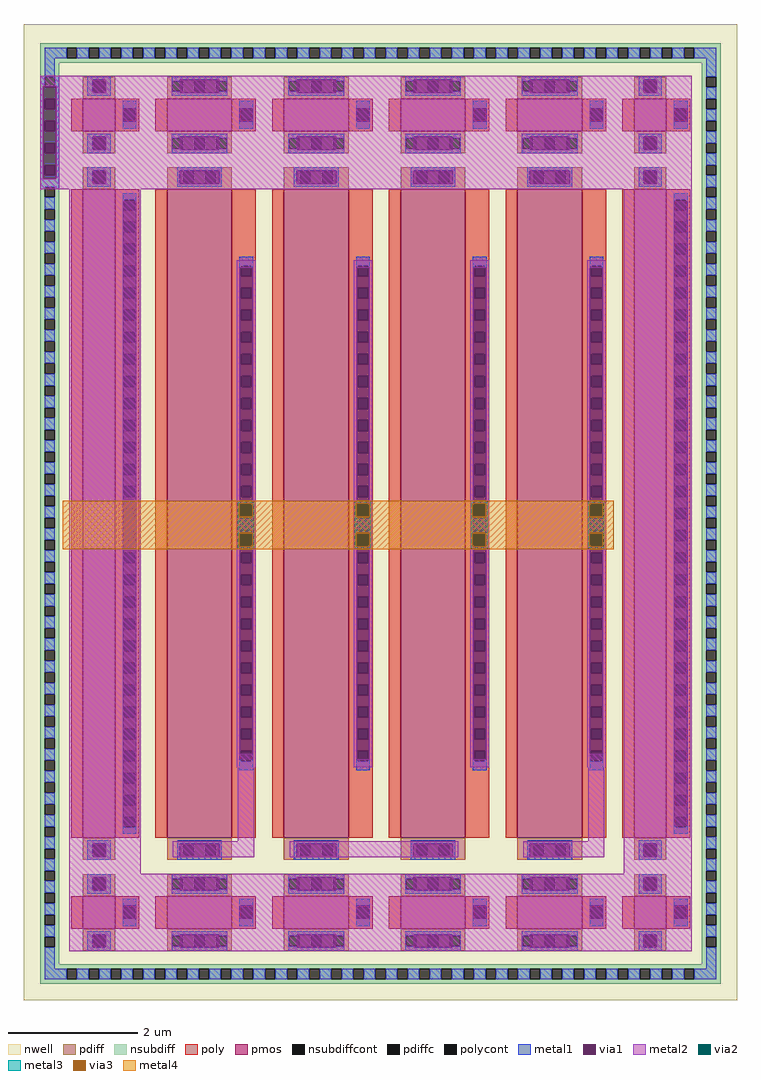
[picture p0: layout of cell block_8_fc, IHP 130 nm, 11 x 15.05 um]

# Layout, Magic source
magic
tech ihp-sg13g2
magscale 1 2
<< nwell >>
rect -380 -370 1820 2640
<< nsubdiff >>
rect -330 2566 1770 2580
rect -330 2534 -248 2566
rect -216 2534 -180 2566
rect -148 2534 -112 2566
rect -80 2534 -44 2566
rect -12 2534 24 2566
rect 56 2534 92 2566
rect 124 2534 160 2566
rect 192 2534 228 2566
rect 260 2534 296 2566
rect 328 2534 364 2566
rect 396 2534 432 2566
rect 464 2534 500 2566
rect 532 2534 568 2566
rect 600 2534 636 2566
rect 668 2534 704 2566
rect 736 2534 772 2566
rect 804 2534 840 2566
rect 872 2534 908 2566
rect 940 2534 976 2566
rect 1008 2534 1044 2566
rect 1076 2534 1112 2566
rect 1144 2534 1180 2566
rect 1212 2534 1248 2566
rect 1280 2534 1316 2566
rect 1348 2534 1384 2566
rect 1416 2534 1452 2566
rect 1484 2534 1520 2566
rect 1552 2534 1588 2566
rect 1620 2534 1656 2566
rect 1688 2534 1770 2566
rect -330 2520 1770 2534
rect -330 2477 -270 2520
rect -330 2445 -316 2477
rect -284 2445 -270 2477
rect -330 2409 -270 2445
rect -330 2377 -316 2409
rect -284 2377 -270 2409
rect -330 2341 -270 2377
rect -330 2309 -316 2341
rect -284 2309 -270 2341
rect -330 2273 -270 2309
rect -330 2241 -316 2273
rect -284 2241 -270 2273
rect -330 2205 -270 2241
rect -330 2173 -316 2205
rect -284 2173 -270 2205
rect -330 2137 -270 2173
rect -330 2105 -316 2137
rect -284 2105 -270 2137
rect -330 2069 -270 2105
rect -330 2037 -316 2069
rect -284 2037 -270 2069
rect -330 2001 -270 2037
rect -330 1969 -316 2001
rect -284 1969 -270 2001
rect -330 1933 -270 1969
rect -330 1901 -316 1933
rect -284 1901 -270 1933
rect -330 1865 -270 1901
rect -330 1833 -316 1865
rect -284 1833 -270 1865
rect -330 1797 -270 1833
rect -330 1765 -316 1797
rect -284 1765 -270 1797
rect -330 1729 -270 1765
rect -330 1697 -316 1729
rect -284 1697 -270 1729
rect -330 1661 -270 1697
rect -330 1629 -316 1661
rect -284 1629 -270 1661
rect -330 1593 -270 1629
rect -330 1561 -316 1593
rect -284 1561 -270 1593
rect -330 1525 -270 1561
rect -330 1493 -316 1525
rect -284 1493 -270 1525
rect -330 1457 -270 1493
rect -330 1425 -316 1457
rect -284 1425 -270 1457
rect -330 1389 -270 1425
rect -330 1357 -316 1389
rect -284 1357 -270 1389
rect -330 1321 -270 1357
rect -330 1289 -316 1321
rect -284 1289 -270 1321
rect -330 1253 -270 1289
rect -330 1221 -316 1253
rect -284 1221 -270 1253
rect -330 1185 -270 1221
rect -330 1153 -316 1185
rect -284 1153 -270 1185
rect 1710 2477 1770 2520
rect 1710 2445 1724 2477
rect 1756 2445 1770 2477
rect 1710 2409 1770 2445
rect 1710 2377 1724 2409
rect 1756 2377 1770 2409
rect 1710 2341 1770 2377
rect 1710 2309 1724 2341
rect 1756 2309 1770 2341
rect 1710 2273 1770 2309
rect 1710 2241 1724 2273
rect 1756 2241 1770 2273
rect 1710 2205 1770 2241
rect 1710 2173 1724 2205
rect 1756 2173 1770 2205
rect 1710 2137 1770 2173
rect 1710 2105 1724 2137
rect 1756 2105 1770 2137
rect 1710 2069 1770 2105
rect 1710 2037 1724 2069
rect 1756 2037 1770 2069
rect 1710 2001 1770 2037
rect 1710 1969 1724 2001
rect 1756 1969 1770 2001
rect 1710 1933 1770 1969
rect 1710 1901 1724 1933
rect 1756 1901 1770 1933
rect 1710 1865 1770 1901
rect 1710 1833 1724 1865
rect 1756 1833 1770 1865
rect 1710 1797 1770 1833
rect 1710 1765 1724 1797
rect 1756 1765 1770 1797
rect 1710 1729 1770 1765
rect 1710 1697 1724 1729
rect 1756 1697 1770 1729
rect 1710 1661 1770 1697
rect 1710 1629 1724 1661
rect 1756 1629 1770 1661
rect 1710 1593 1770 1629
rect 1710 1561 1724 1593
rect 1756 1561 1770 1593
rect 1710 1525 1770 1561
rect 1710 1493 1724 1525
rect 1756 1493 1770 1525
rect 1710 1457 1770 1493
rect 1710 1425 1724 1457
rect 1756 1425 1770 1457
rect 1710 1389 1770 1425
rect 1710 1357 1724 1389
rect 1756 1357 1770 1389
rect 1710 1321 1770 1357
rect 1710 1289 1724 1321
rect 1756 1289 1770 1321
rect 1710 1253 1770 1289
rect 1710 1221 1724 1253
rect 1756 1221 1770 1253
rect 1710 1185 1770 1221
rect -330 1117 -270 1153
rect 1710 1153 1724 1185
rect 1756 1153 1770 1185
rect -330 1085 -316 1117
rect -284 1085 -270 1117
rect -330 1049 -270 1085
rect -330 1017 -316 1049
rect -284 1017 -270 1049
rect -330 981 -270 1017
rect -330 949 -316 981
rect -284 949 -270 981
rect -330 913 -270 949
rect -330 881 -316 913
rect -284 881 -270 913
rect -330 845 -270 881
rect -330 813 -316 845
rect -284 813 -270 845
rect -330 777 -270 813
rect -330 745 -316 777
rect -284 745 -270 777
rect -330 709 -270 745
rect -330 677 -316 709
rect -284 677 -270 709
rect -330 641 -270 677
rect -330 609 -316 641
rect -284 609 -270 641
rect -330 573 -270 609
rect -330 541 -316 573
rect -284 541 -270 573
rect -330 505 -270 541
rect -330 473 -316 505
rect -284 473 -270 505
rect -330 437 -270 473
rect -330 405 -316 437
rect -284 405 -270 437
rect -330 369 -270 405
rect -330 337 -316 369
rect -284 337 -270 369
rect -330 301 -270 337
rect -330 269 -316 301
rect -284 269 -270 301
rect -330 233 -270 269
rect -330 201 -316 233
rect -284 201 -270 233
rect -330 165 -270 201
rect -330 133 -316 165
rect -284 133 -270 165
rect -330 97 -270 133
rect -330 65 -316 97
rect -284 65 -270 97
rect -330 29 -270 65
rect -330 -3 -316 29
rect -284 -3 -270 29
rect -330 -39 -270 -3
rect -330 -71 -316 -39
rect -284 -71 -270 -39
rect -330 -107 -270 -71
rect -330 -139 -316 -107
rect -284 -139 -270 -107
rect -330 -175 -270 -139
rect -330 -207 -316 -175
rect -284 -207 -270 -175
rect -330 -260 -270 -207
rect 1710 1117 1770 1153
rect 1710 1085 1724 1117
rect 1756 1085 1770 1117
rect 1710 1049 1770 1085
rect 1710 1017 1724 1049
rect 1756 1017 1770 1049
rect 1710 981 1770 1017
rect 1710 949 1724 981
rect 1756 949 1770 981
rect 1710 913 1770 949
rect 1710 881 1724 913
rect 1756 881 1770 913
rect 1710 845 1770 881
rect 1710 813 1724 845
rect 1756 813 1770 845
rect 1710 777 1770 813
rect 1710 745 1724 777
rect 1756 745 1770 777
rect 1710 709 1770 745
rect 1710 677 1724 709
rect 1756 677 1770 709
rect 1710 641 1770 677
rect 1710 609 1724 641
rect 1756 609 1770 641
rect 1710 573 1770 609
rect 1710 541 1724 573
rect 1756 541 1770 573
rect 1710 505 1770 541
rect 1710 473 1724 505
rect 1756 473 1770 505
rect 1710 437 1770 473
rect 1710 405 1724 437
rect 1756 405 1770 437
rect 1710 369 1770 405
rect 1710 337 1724 369
rect 1756 337 1770 369
rect 1710 301 1770 337
rect 1710 269 1724 301
rect 1756 269 1770 301
rect 1710 233 1770 269
rect 1710 201 1724 233
rect 1756 201 1770 233
rect 1710 165 1770 201
rect 1710 133 1724 165
rect 1756 133 1770 165
rect 1710 97 1770 133
rect 1710 65 1724 97
rect 1756 65 1770 97
rect 1710 29 1770 65
rect 1710 -3 1724 29
rect 1756 -3 1770 29
rect 1710 -39 1770 -3
rect 1710 -71 1724 -39
rect 1756 -71 1770 -39
rect 1710 -107 1770 -71
rect 1710 -139 1724 -107
rect 1756 -139 1770 -107
rect 1710 -175 1770 -139
rect 1710 -207 1724 -175
rect 1756 -207 1770 -175
rect 1710 -260 1770 -207
rect -330 -274 1770 -260
rect -330 -306 -248 -274
rect -216 -306 -180 -274
rect -148 -306 -112 -274
rect -80 -306 -44 -274
rect -12 -306 24 -274
rect 56 -306 92 -274
rect 124 -306 160 -274
rect 192 -306 228 -274
rect 260 -306 296 -274
rect 328 -306 364 -274
rect 396 -306 432 -274
rect 464 -306 500 -274
rect 532 -306 568 -274
rect 600 -306 636 -274
rect 668 -306 704 -274
rect 736 -306 772 -274
rect 804 -306 840 -274
rect 872 -306 908 -274
rect 940 -306 976 -274
rect 1008 -306 1044 -274
rect 1076 -306 1112 -274
rect 1144 -306 1180 -274
rect 1212 -306 1248 -274
rect 1280 -306 1316 -274
rect 1348 -306 1384 -274
rect 1416 -306 1452 -274
rect 1484 -306 1520 -274
rect 1552 -306 1588 -274
rect 1620 -306 1656 -274
rect 1688 -306 1770 -274
rect -330 -320 1770 -306
<< nsubdiffcont >>
rect -248 2534 -216 2566
rect -180 2534 -148 2566
rect -112 2534 -80 2566
rect -44 2534 -12 2566
rect 24 2534 56 2566
rect 92 2534 124 2566
rect 160 2534 192 2566
rect 228 2534 260 2566
rect 296 2534 328 2566
rect 364 2534 396 2566
rect 432 2534 464 2566
rect 500 2534 532 2566
rect 568 2534 600 2566
rect 636 2534 668 2566
rect 704 2534 736 2566
rect 772 2534 804 2566
rect 840 2534 872 2566
rect 908 2534 940 2566
rect 976 2534 1008 2566
rect 1044 2534 1076 2566
rect 1112 2534 1144 2566
rect 1180 2534 1212 2566
rect 1248 2534 1280 2566
rect 1316 2534 1348 2566
rect 1384 2534 1416 2566
rect 1452 2534 1484 2566
rect 1520 2534 1552 2566
rect 1588 2534 1620 2566
rect 1656 2534 1688 2566
rect -316 2445 -284 2477
rect -316 2377 -284 2409
rect -316 2309 -284 2341
rect -316 2241 -284 2273
rect -316 2173 -284 2205
rect -316 2105 -284 2137
rect -316 2037 -284 2069
rect -316 1969 -284 2001
rect -316 1901 -284 1933
rect -316 1833 -284 1865
rect -316 1765 -284 1797
rect -316 1697 -284 1729
rect -316 1629 -284 1661
rect -316 1561 -284 1593
rect -316 1493 -284 1525
rect -316 1425 -284 1457
rect -316 1357 -284 1389
rect -316 1289 -284 1321
rect -316 1221 -284 1253
rect -316 1153 -284 1185
rect 1724 2445 1756 2477
rect 1724 2377 1756 2409
rect 1724 2309 1756 2341
rect 1724 2241 1756 2273
rect 1724 2173 1756 2205
rect 1724 2105 1756 2137
rect 1724 2037 1756 2069
rect 1724 1969 1756 2001
rect 1724 1901 1756 1933
rect 1724 1833 1756 1865
rect 1724 1765 1756 1797
rect 1724 1697 1756 1729
rect 1724 1629 1756 1661
rect 1724 1561 1756 1593
rect 1724 1493 1756 1525
rect 1724 1425 1756 1457
rect 1724 1357 1756 1389
rect 1724 1289 1756 1321
rect 1724 1221 1756 1253
rect 1724 1153 1756 1185
rect -316 1085 -284 1117
rect -316 1017 -284 1049
rect -316 949 -284 981
rect -316 881 -284 913
rect -316 813 -284 845
rect -316 745 -284 777
rect -316 677 -284 709
rect -316 609 -284 641
rect -316 541 -284 573
rect -316 473 -284 505
rect -316 405 -284 437
rect -316 337 -284 369
rect -316 269 -284 301
rect -316 201 -284 233
rect -316 133 -284 165
rect -316 65 -284 97
rect -316 -3 -284 29
rect -316 -71 -284 -39
rect -316 -139 -284 -107
rect -316 -207 -284 -175
rect 1724 1085 1756 1117
rect 1724 1017 1756 1049
rect 1724 949 1756 981
rect 1724 881 1756 913
rect 1724 813 1756 845
rect 1724 745 1756 777
rect 1724 677 1756 709
rect 1724 609 1756 641
rect 1724 541 1756 573
rect 1724 473 1756 505
rect 1724 405 1756 437
rect 1724 337 1756 369
rect 1724 269 1756 301
rect 1724 201 1756 233
rect 1724 133 1756 165
rect 1724 65 1756 97
rect 1724 -3 1756 29
rect 1724 -71 1756 -39
rect 1724 -139 1756 -107
rect 1724 -207 1756 -175
rect -248 -306 -216 -274
rect -180 -306 -148 -274
rect -112 -306 -80 -274
rect -44 -306 -12 -274
rect 24 -306 56 -274
rect 92 -306 124 -274
rect 160 -306 192 -274
rect 228 -306 260 -274
rect 296 -306 328 -274
rect 364 -306 396 -274
rect 432 -306 464 -274
rect 500 -306 532 -274
rect 568 -306 600 -274
rect 636 -306 668 -274
rect 704 -306 736 -274
rect 772 -306 804 -274
rect 840 -306 872 -274
rect 908 -306 940 -274
rect 976 -306 1008 -274
rect 1044 -306 1076 -274
rect 1112 -306 1144 -274
rect 1180 -306 1212 -274
rect 1248 -306 1280 -274
rect 1316 -306 1348 -274
rect 1384 -306 1416 -274
rect 1452 -306 1484 -274
rect 1520 -306 1552 -274
rect 1588 -306 1620 -274
rect 1656 -306 1688 -274
<< poly >>
rect 280 1120 330 1160
rect 640 1120 690 1160
rect 1000 1120 1050 1160
rect 1360 1120 1410 1160
<< metal1 >>
rect -316 2534 -248 2566
rect -216 2534 -180 2566
rect -148 2534 -112 2566
rect -80 2534 -44 2566
rect -12 2534 24 2566
rect 56 2534 92 2566
rect 124 2534 160 2566
rect 192 2534 228 2566
rect 260 2534 296 2566
rect 328 2534 364 2566
rect 396 2534 432 2566
rect 464 2534 500 2566
rect 532 2534 568 2566
rect 600 2534 636 2566
rect 668 2534 704 2566
rect 736 2534 772 2566
rect 804 2534 840 2566
rect 872 2534 908 2566
rect 940 2534 976 2566
rect 1008 2534 1044 2566
rect 1076 2534 1112 2566
rect 1144 2534 1180 2566
rect 1212 2534 1248 2566
rect 1280 2534 1316 2566
rect 1348 2534 1384 2566
rect 1416 2534 1452 2566
rect 1484 2534 1520 2566
rect 1552 2534 1588 2566
rect 1620 2534 1656 2566
rect 1688 2534 1756 2566
rect -316 2480 -284 2534
rect -330 2477 -270 2480
rect -330 2448 -316 2477
rect -284 2448 -270 2477
rect -330 2162 -320 2448
rect -280 2162 -270 2448
rect -330 2137 -270 2162
rect -330 2130 -316 2137
rect -284 2130 -270 2137
rect 1724 2477 1756 2534
rect 1724 2409 1756 2445
rect 1724 2341 1756 2377
rect 1724 2273 1756 2309
rect 1724 2205 1756 2241
rect 1724 2137 1756 2173
rect -316 2069 -284 2105
rect -316 2001 -284 2037
rect -316 1933 -284 1969
rect -316 1865 -284 1901
rect -316 1797 -284 1833
rect -316 1729 -284 1765
rect -316 1661 -284 1697
rect -316 1593 -284 1629
rect -316 1525 -284 1561
rect -316 1457 -284 1493
rect -316 1389 -284 1425
rect -316 1321 -284 1357
rect -316 1253 -284 1289
rect -316 1185 -284 1221
rect -316 1117 -284 1153
rect -316 1049 -284 1085
rect -316 981 -284 1017
rect -316 913 -284 949
rect -316 845 -284 881
rect -316 777 -284 813
rect -316 709 -284 745
rect -316 641 -284 677
rect -316 573 -284 609
rect -316 505 -284 541
rect -316 437 -284 473
rect -316 369 -284 405
rect -316 301 -284 337
rect -316 233 -284 269
rect -316 165 -284 201
rect -316 97 -284 133
rect -316 29 -284 65
rect -316 -39 -284 -3
rect -316 -107 -284 -71
rect -316 -175 -284 -139
rect -316 -274 -284 -207
rect 1724 2069 1756 2105
rect 1724 2001 1756 2037
rect 1724 1933 1756 1969
rect 1724 1865 1756 1901
rect 1724 1797 1756 1833
rect 1724 1729 1756 1765
rect 1724 1661 1756 1697
rect 1724 1593 1756 1629
rect 1724 1525 1756 1561
rect 1724 1457 1756 1493
rect 1724 1389 1756 1425
rect 1724 1321 1756 1357
rect 1724 1253 1756 1289
rect 1724 1185 1756 1221
rect 1724 1117 1756 1153
rect 1724 1049 1756 1085
rect 1724 981 1756 1017
rect 1724 913 1756 949
rect 1724 845 1756 881
rect 1724 777 1756 813
rect 1724 709 1756 745
rect 1724 641 1756 677
rect 1724 573 1756 609
rect 1724 505 1756 541
rect 1724 437 1756 473
rect 1724 369 1756 405
rect 1724 301 1756 337
rect 1724 233 1756 269
rect 1724 165 1756 201
rect 1724 97 1756 133
rect 1724 29 1756 65
rect 1724 -39 1756 -3
rect 1724 -107 1756 -71
rect 1724 -175 1756 -139
rect 1724 -274 1756 -207
rect -316 -306 -248 -274
rect -216 -306 -180 -274
rect -148 -306 -112 -274
rect -80 -306 -44 -274
rect -12 -306 24 -274
rect 56 -306 92 -274
rect 124 -306 160 -274
rect 192 -306 228 -274
rect 260 -306 296 -274
rect 328 -306 364 -274
rect 396 -306 432 -274
rect 464 -306 500 -274
rect 532 -306 568 -274
rect 600 -306 636 -274
rect 668 -306 704 -274
rect 736 -306 772 -274
rect 804 -306 840 -274
rect 872 -306 908 -274
rect 940 -306 976 -274
rect 1008 -306 1044 -274
rect 1076 -306 1112 -274
rect 1144 -306 1180 -274
rect 1212 -306 1248 -274
rect 1280 -306 1316 -274
rect 1348 -306 1384 -274
rect 1416 -306 1452 -274
rect 1484 -306 1520 -274
rect 1552 -306 1588 -274
rect 1620 -306 1656 -274
rect 1688 -306 1756 -274
<< via1 >>
rect -320 2445 -316 2448
rect -316 2445 -284 2448
rect -284 2445 -280 2448
rect -320 2409 -280 2445
rect -320 2377 -316 2409
rect -316 2377 -284 2409
rect -284 2377 -280 2409
rect -320 2341 -280 2377
rect -320 2309 -316 2341
rect -316 2309 -284 2341
rect -284 2309 -280 2341
rect -320 2273 -280 2309
rect -320 2241 -316 2273
rect -316 2241 -284 2273
rect -284 2241 -280 2273
rect -320 2205 -280 2241
rect -320 2173 -316 2205
rect -316 2173 -284 2205
rect -284 2173 -280 2205
rect -320 2162 -280 2173
<< metal2 >>
rect -330 2448 1680 2480
rect -330 2162 -320 2448
rect -280 2162 1680 2448
rect -330 2130 1680 2162
rect -240 20 -20 2130
rect 280 1120 285 1160
rect 325 1120 330 1160
rect 640 1120 645 1160
rect 685 1120 690 1160
rect 1000 1120 1005 1160
rect 1045 1120 1050 1160
rect 1360 1120 1365 1160
rect 1405 1120 1410 1160
rect 280 1030 285 1070
rect 325 1030 330 1070
rect 640 1030 645 1070
rect 685 1030 690 1070
rect 1000 1030 1005 1070
rect 1045 1030 1050 1070
rect 1360 1030 1365 1070
rect 1405 1030 1410 1070
rect 280 120 330 390
rect 1360 120 1410 390
rect 80 70 330 120
rect 440 70 960 120
rect 1160 70 1410 120
rect 1470 20 1680 2130
rect -240 -220 1680 20
<< via2 >>
rect 285 1120 325 1160
rect 645 1120 685 1160
rect 1005 1120 1045 1160
rect 1365 1120 1405 1160
rect 285 1030 325 1070
rect 645 1030 685 1070
rect 1005 1030 1045 1070
rect 1365 1030 1405 1070
<< metal3 >>
rect 280 1160 330 1170
rect 280 1120 285 1160
rect 325 1120 330 1160
rect 280 1070 330 1120
rect 280 1030 285 1070
rect 325 1030 330 1070
rect 280 1020 330 1030
rect 640 1160 690 1170
rect 640 1120 645 1160
rect 685 1120 690 1160
rect 640 1070 690 1120
rect 640 1030 645 1070
rect 685 1030 690 1070
rect 640 1020 690 1030
rect 1000 1160 1050 1170
rect 1000 1120 1005 1160
rect 1045 1120 1050 1160
rect 1000 1070 1050 1120
rect 1000 1030 1005 1070
rect 1045 1030 1050 1070
rect 1000 1020 1050 1030
rect 1360 1160 1410 1170
rect 1360 1120 1365 1160
rect 1405 1120 1410 1160
rect 1360 1070 1410 1120
rect 1360 1030 1365 1070
rect 1405 1030 1410 1070
rect 1360 1020 1410 1030
<< via3 >>
rect 285 1120 325 1160
rect 285 1030 325 1070
rect 645 1120 685 1160
rect 645 1030 685 1070
rect 1005 1120 1045 1160
rect 1005 1030 1045 1070
rect 1365 1120 1405 1160
rect 1365 1030 1405 1070
<< metal4 >>
rect -260 1160 1440 1170
rect -260 1120 285 1160
rect 325 1120 645 1160
rect 685 1120 1005 1160
rect 1045 1120 1365 1160
rect 1405 1120 1440 1160
rect -260 1070 1440 1120
rect -260 1030 285 1070
rect 325 1030 645 1070
rect 685 1030 1005 1070
rect 1045 1030 1365 1070
rect 1405 1030 1440 1070
rect -260 1020 1440 1030
use sg13_lv_pmos_6AGBTA  sg13_lv_pmos_6AGBTA_0
transform 0 1 -129 -1 0 2360
box -180 -131 180 105
use sg13_lv_pmos_6AGBTA  sg13_lv_pmos_6AGBTA_1
transform 0 1 1571 -1 0 2360
box -180 -131 180 105
use sg13_lv_pmos_6AGBTA  sg13_lv_pmos_6AGBTA_2
transform 0 1 1571 -1 0 -100
box -180 -131 180 105
use sg13_lv_pmos_6AGBTA  sg13_lv_pmos_6AGBTA_3
transform 0 1 -129 -1 0 -100
box -180 -131 180 105
use sg13_lv_pmos_NNWYK8  sg13_lv_pmos_NNWYK8_0
transform 0 1 181 -1 0 1130
box -1130 -181 1130 155
use sg13_lv_pmos_NNWYK8  sg13_lv_pmos_NNWYK8_1
transform 0 1 541 -1 0 1130
box -1130 -181 1130 155
use sg13_lv_pmos_NNWYK8  sg13_lv_pmos_NNWYK8_2
transform 0 1 901 -1 0 1130
box -1130 -181 1130 155
use sg13_lv_pmos_NNWYK8  sg13_lv_pmos_NNWYK8_3
transform 0 1 1261 -1 0 1130
box -1130 -181 1130 155
use sg13_lv_pmos_NVW9TA  sg13_lv_pmos_NVW9TA_0
transform 0 1 181 -1 0 2360
box -180 -181 180 155
use sg13_lv_pmos_NVW9TA  sg13_lv_pmos_NVW9TA_1
transform 0 1 541 -1 0 2360
box -180 -181 180 155
use sg13_lv_pmos_NVW9TA  sg13_lv_pmos_NVW9TA_2
transform 0 1 901 -1 0 2360
box -180 -181 180 155
use sg13_lv_pmos_NVW9TA  sg13_lv_pmos_NVW9TA_3
transform 0 1 1261 -1 0 2360
box -180 -181 180 155
use sg13_lv_pmos_NVW9TA  sg13_lv_pmos_NVW9TA_4
transform 0 1 1261 -1 0 -100
box -180 -181 180 155
use sg13_lv_pmos_NVW9TA  sg13_lv_pmos_NVW9TA_5
transform 0 1 901 -1 0 -100
box -180 -181 180 155
use sg13_lv_pmos_NVW9TA  sg13_lv_pmos_NVW9TA_6
transform 0 1 541 -1 0 -100
box -180 -181 180 155
use sg13_lv_pmos_NVW9TA  sg13_lv_pmos_NVW9TA_7
transform 0 1 181 -1 0 -100
box -180 -181 180 155
use sg13_lv_pmos_Y6Y9LY  sg13_lv_pmos_Y6Y9LY_0
transform 0 1 1571 -1 0 1130
box -1130 -131 1130 105
use sg13_lv_pmos_Y6Y9LY  sg13_lv_pmos_Y6Y9LY_1
transform 0 1 -129 -1 0 1130
box -1130 -131 1130 105
<< end >>

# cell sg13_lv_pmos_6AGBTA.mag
magic
tech ihp-sg13g2
magscale 1 2
<< nwell >>
rect -180 -131 180 93
<< pmos >>
rect -50 -69 50 31
<< pdiff >>
rect -118 -3 -50 31
rect -118 -35 -104 -3
rect -72 -35 -50 -3
rect -118 -69 -50 -35
rect 50 -3 118 31
rect 50 -35 72 -3
rect 104 -35 118 -3
rect 50 -69 118 -35
<< pdiffc >>
rect -104 -35 -72 -3
rect 72 -35 104 -3
<< poly >>
rect -50 91 50 105
rect -50 59 -16 91
rect 16 59 50 91
rect -50 31 50 59
rect -50 -105 50 -69
<< polycont >>
rect -16 59 16 91
<< metal1 >>
rect -43 95 43 96
rect -43 55 -20 95
rect 20 55 43 95
rect -43 54 43 55
rect -118 1 -58 17
rect -118 -39 -108 1
rect -68 -39 -58 1
rect -118 -55 -58 -39
rect 58 1 118 17
rect 58 -39 68 1
rect 108 -39 118 1
rect 58 -55 118 -39
<< via1 >>
rect -20 91 20 95
rect -20 59 -16 91
rect -16 59 16 91
rect 16 59 20 91
rect -20 55 20 59
rect -108 -3 -68 1
rect -108 -35 -104 -3
rect -104 -35 -72 -3
rect -72 -35 -68 -3
rect -108 -39 -68 -35
rect 68 -3 108 1
rect 68 -35 72 -3
rect 72 -35 104 -3
rect 104 -35 108 -3
rect 68 -39 108 -35
<< metal2 >>
rect -28 95 28 104
rect -28 55 -20 95
rect 20 55 28 95
rect -28 46 28 55
rect -108 1 -68 25
rect -108 -63 -68 -39
rect 68 1 108 25
rect 68 -63 108 -39
<< labels >>
rlabel metal1 s -88 -19 -88 -19 4 D
rlabel metal1 s 88 -19 88 -19 4 S
rlabel metal1 s 0 75 0 75 4 G
<< end >>

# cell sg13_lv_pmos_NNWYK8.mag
magic
tech ihp-sg13g2
magscale 1 2
<< nwell >>
rect -1130 -181 1130 143
<< pmos >>
rect -1000 -119 1000 81
<< pdiff >>
rect -1068 31 -1000 81
rect -1068 -1 -1054 31
rect -1022 -1 -1000 31
rect -1068 -37 -1000 -1
rect -1068 -69 -1054 -37
rect -1022 -69 -1000 -37
rect -1068 -119 -1000 -69
rect 1000 31 1068 81
rect 1000 -1 1022 31
rect 1054 -1 1068 31
rect 1000 -37 1068 -1
rect 1000 -69 1022 -37
rect 1054 -69 1068 -37
rect 1000 -119 1068 -69
<< pdiffc >>
rect -1054 -1 -1022 31
rect -1054 -69 -1022 -37
rect 1022 -1 1054 31
rect 1022 -69 1054 -37
<< poly >>
rect -1000 141 1000 155
rect -1000 109 -764 141
rect -732 109 -696 141
rect -664 109 -628 141
rect -596 109 -560 141
rect -528 109 -492 141
rect -460 109 -424 141
rect -392 109 -356 141
rect -324 109 -288 141
rect -256 109 -220 141
rect -188 109 -152 141
rect -120 109 -84 141
rect -52 109 -16 141
rect 16 109 52 141
rect 84 109 120 141
rect 152 109 188 141
rect 220 109 256 141
rect 288 109 324 141
rect 356 109 392 141
rect 424 109 460 141
rect 492 109 528 141
rect 560 109 596 141
rect 628 109 664 141
rect 696 109 732 141
rect 764 109 1000 141
rect -1000 81 1000 109
rect -1000 -155 1000 -119
<< polycont >>
rect -764 109 -732 141
rect -696 109 -664 141
rect -628 109 -596 141
rect -560 109 -528 141
rect -492 109 -460 141
rect -424 109 -392 141
rect -356 109 -324 141
rect -288 109 -256 141
rect -220 109 -188 141
rect -152 109 -120 141
rect -84 109 -52 141
rect -16 109 16 141
rect 52 109 84 141
rect 120 109 152 141
rect 188 109 220 141
rect 256 109 288 141
rect 324 109 356 141
rect 392 109 424 141
rect 460 109 492 141
rect 528 109 560 141
rect 596 109 628 141
rect 664 109 696 141
rect 732 109 764 141
<< metal1 >>
rect -792 145 792 146
rect -792 141 -758 145
rect 758 141 792 145
rect -792 109 -764 141
rect 764 109 792 141
rect -792 105 -758 109
rect 758 105 792 109
rect -792 104 792 105
rect -1068 42 -1008 50
rect -1068 -80 -1058 42
rect -1018 -80 -1008 42
rect -1068 -88 -1008 -80
rect 1008 42 1068 50
rect 1008 -80 1018 42
rect 1058 -80 1068 42
rect 1008 -88 1068 -80
<< via1 >>
rect -758 141 758 145
rect -758 109 -732 141
rect -732 109 -696 141
rect -696 109 -664 141
rect -664 109 -628 141
rect -628 109 -596 141
rect -596 109 -560 141
rect -560 109 -528 141
rect -528 109 -492 141
rect -492 109 -460 141
rect -460 109 -424 141
rect -424 109 -392 141
rect -392 109 -356 141
rect -356 109 -324 141
rect -324 109 -288 141
rect -288 109 -256 141
rect -256 109 -220 141
rect -220 109 -188 141
rect -188 109 -152 141
rect -152 109 -120 141
rect -120 109 -84 141
rect -84 109 -52 141
rect -52 109 -16 141
rect -16 109 16 141
rect 16 109 52 141
rect 52 109 84 141
rect 84 109 120 141
rect 120 109 152 141
rect 152 109 188 141
rect 188 109 220 141
rect 220 109 256 141
rect 256 109 288 141
rect 288 109 324 141
rect 324 109 356 141
rect 356 109 392 141
rect 392 109 424 141
rect 424 109 460 141
rect 460 109 492 141
rect 492 109 528 141
rect 528 109 560 141
rect 560 109 596 141
rect 596 109 628 141
rect 628 109 664 141
rect 664 109 696 141
rect 696 109 732 141
rect 732 109 758 141
rect -758 105 758 109
rect -1058 31 -1018 42
rect -1058 -1 -1054 31
rect -1054 -1 -1022 31
rect -1022 -1 -1018 31
rect -1058 -37 -1018 -1
rect -1058 -69 -1054 -37
rect -1054 -69 -1022 -37
rect -1022 -69 -1018 -37
rect -1058 -80 -1018 -69
rect 1018 31 1058 42
rect 1018 -1 1022 31
rect 1022 -1 1054 31
rect 1054 -1 1058 31
rect 1018 -37 1058 -1
rect 1018 -69 1022 -37
rect 1022 -69 1054 -37
rect 1054 -69 1058 -37
rect 1018 -80 1058 -69
<< metal2 >>
rect -782 145 782 154
rect -782 105 -758 145
rect 758 105 782 145
rect -782 96 782 105
rect -1058 42 -1018 58
rect -1058 -96 -1018 -80
rect 1018 42 1058 58
rect 1018 -96 1058 -80
<< labels >>
rlabel metal1 s -1038 -19 -1038 -19 4 D
rlabel metal1 s 1038 -19 1038 -19 4 S
rlabel metal1 s 0 125 0 125 4 G
<< end >>

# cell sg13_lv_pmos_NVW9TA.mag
magic
tech ihp-sg13g2
magscale 1 2
<< nwell >>
rect -180 -181 180 143
<< pmos >>
rect -50 -119 50 81
<< pdiff >>
rect -118 65 -50 81
rect -118 33 -104 65
rect -72 33 -50 65
rect -118 -3 -50 33
rect -118 -35 -104 -3
rect -72 -35 -50 -3
rect -118 -71 -50 -35
rect -118 -103 -104 -71
rect -72 -103 -50 -71
rect -118 -119 -50 -103
rect 50 65 118 81
rect 50 33 72 65
rect 104 33 118 65
rect 50 -3 118 33
rect 50 -35 72 -3
rect 104 -35 118 -3
rect 50 -71 118 -35
rect 50 -103 72 -71
rect 104 -103 118 -71
rect 50 -119 118 -103
<< pdiffc >>
rect -104 33 -72 65
rect -104 -35 -72 -3
rect -104 -103 -72 -71
rect 72 33 104 65
rect 72 -35 104 -3
rect 72 -103 104 -71
<< poly >>
rect -50 141 50 155
rect -50 109 -16 141
rect 16 109 50 141
rect -50 81 50 109
rect -50 -155 50 -119
<< polycont >>
rect -16 109 16 141
<< metal1 >>
rect -43 145 43 146
rect -43 105 -20 145
rect 20 105 43 145
rect -43 104 43 105
rect -118 65 -58 67
rect -118 42 -104 65
rect -72 42 -58 65
rect -118 -80 -108 42
rect -68 -80 -58 42
rect -118 -103 -104 -80
rect -72 -103 -58 -80
rect -118 -105 -58 -103
rect 58 65 118 67
rect 58 42 72 65
rect 104 42 118 65
rect 58 -80 68 42
rect 108 -80 118 42
rect 58 -103 72 -80
rect 104 -103 118 -80
rect 58 -105 118 -103
<< via1 >>
rect -20 141 20 145
rect -20 109 -16 141
rect -16 109 16 141
rect 16 109 20 141
rect -20 105 20 109
rect -108 33 -104 42
rect -104 33 -72 42
rect -72 33 -68 42
rect -108 -3 -68 33
rect -108 -35 -104 -3
rect -104 -35 -72 -3
rect -72 -35 -68 -3
rect -108 -71 -68 -35
rect -108 -80 -104 -71
rect -104 -80 -72 -71
rect -72 -80 -68 -71
rect 68 33 72 42
rect 72 33 104 42
rect 104 33 108 42
rect 68 -3 108 33
rect 68 -35 72 -3
rect 72 -35 104 -3
rect 104 -35 108 -3
rect 68 -71 108 -35
rect 68 -80 72 -71
rect 72 -80 104 -71
rect 104 -80 108 -71
<< metal2 >>
rect -28 145 28 154
rect -28 105 -20 145
rect 20 105 28 145
rect -28 96 28 105
rect -108 42 -68 75
rect -108 -113 -68 -80
rect 68 42 108 75
rect 68 -113 108 -80
<< labels >>
rlabel metal1 s -88 -19 -88 -19 4 D
rlabel metal1 s 88 -19 88 -19 4 S
rlabel metal1 s 0 125 0 125 4 G
<< end >>

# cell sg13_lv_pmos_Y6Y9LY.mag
magic
tech ihp-sg13g2
magscale 1 2
<< nwell >>
rect -1130 -131 1130 93
<< pmos >>
rect -1000 -69 1000 31
<< pdiff >>
rect -1068 -3 -1000 31
rect -1068 -35 -1054 -3
rect -1022 -35 -1000 -3
rect -1068 -69 -1000 -35
rect 1000 -3 1068 31
rect 1000 -35 1022 -3
rect 1054 -35 1068 -3
rect 1000 -69 1068 -35
<< pdiffc >>
rect -1054 -35 -1022 -3
rect 1022 -35 1054 -3
<< poly >>
rect -1000 91 1000 105
rect -1000 59 -968 91
rect -936 59 -900 91
rect -868 59 -832 91
rect -800 59 -764 91
rect -732 59 -696 91
rect -664 59 -628 91
rect -596 59 -560 91
rect -528 59 -492 91
rect -460 59 -424 91
rect -392 59 -356 91
rect -324 59 -288 91
rect -256 59 -220 91
rect -188 59 -152 91
rect -120 59 -84 91
rect -52 59 -16 91
rect 16 59 52 91
rect 84 59 120 91
rect 152 59 188 91
rect 220 59 256 91
rect 288 59 324 91
rect 356 59 392 91
rect 424 59 460 91
rect 492 59 528 91
rect 560 59 596 91
rect 628 59 664 91
rect 696 59 732 91
rect 764 59 800 91
rect 832 59 868 91
rect 900 59 936 91
rect 968 59 1000 91
rect -1000 31 1000 59
rect -1000 -105 1000 -69
<< polycont >>
rect -968 59 -936 91
rect -900 59 -868 91
rect -832 59 -800 91
rect -764 59 -732 91
rect -696 59 -664 91
rect -628 59 -596 91
rect -560 59 -528 91
rect -492 59 -460 91
rect -424 59 -392 91
rect -356 59 -324 91
rect -288 59 -256 91
rect -220 59 -188 91
rect -152 59 -120 91
rect -84 59 -52 91
rect -16 59 16 91
rect 52 59 84 91
rect 120 59 152 91
rect 188 59 220 91
rect 256 59 288 91
rect 324 59 356 91
rect 392 59 424 91
rect 460 59 492 91
rect 528 59 560 91
rect 596 59 628 91
rect 664 59 696 91
rect 732 59 764 91
rect 800 59 832 91
rect 868 59 900 91
rect 936 59 968 91
<< metal1 >>
rect -988 95 988 96
rect -988 91 -963 95
rect 963 91 988 95
rect -988 59 -968 91
rect 968 59 988 91
rect -988 55 -963 59
rect 963 55 988 59
rect -988 54 988 55
rect -1068 1 -1008 17
rect -1068 -39 -1058 1
rect -1018 -39 -1008 1
rect -1068 -55 -1008 -39
rect 1008 1 1068 17
rect 1008 -39 1018 1
rect 1058 -39 1068 1
rect 1008 -55 1068 -39
<< via1 >>
rect -963 91 963 95
rect -963 59 -936 91
rect -936 59 -900 91
rect -900 59 -868 91
rect -868 59 -832 91
rect -832 59 -800 91
rect -800 59 -764 91
rect -764 59 -732 91
rect -732 59 -696 91
rect -696 59 -664 91
rect -664 59 -628 91
rect -628 59 -596 91
rect -596 59 -560 91
rect -560 59 -528 91
rect -528 59 -492 91
rect -492 59 -460 91
rect -460 59 -424 91
rect -424 59 -392 91
rect -392 59 -356 91
rect -356 59 -324 91
rect -324 59 -288 91
rect -288 59 -256 91
rect -256 59 -220 91
rect -220 59 -188 91
rect -188 59 -152 91
rect -152 59 -120 91
rect -120 59 -84 91
rect -84 59 -52 91
rect -52 59 -16 91
rect -16 59 16 91
rect 16 59 52 91
rect 52 59 84 91
rect 84 59 120 91
rect 120 59 152 91
rect 152 59 188 91
rect 188 59 220 91
rect 220 59 256 91
rect 256 59 288 91
rect 288 59 324 91
rect 324 59 356 91
rect 356 59 392 91
rect 392 59 424 91
rect 424 59 460 91
rect 460 59 492 91
rect 492 59 528 91
rect 528 59 560 91
rect 560 59 596 91
rect 596 59 628 91
rect 628 59 664 91
rect 664 59 696 91
rect 696 59 732 91
rect 732 59 764 91
rect 764 59 800 91
rect 800 59 832 91
rect 832 59 868 91
rect 868 59 900 91
rect 900 59 936 91
rect 936 59 963 91
rect -963 55 963 59
rect -1058 -3 -1018 1
rect -1058 -35 -1054 -3
rect -1054 -35 -1022 -3
rect -1022 -35 -1018 -3
rect -1058 -39 -1018 -35
rect 1018 -3 1058 1
rect 1018 -35 1022 -3
rect 1022 -35 1054 -3
rect 1054 -35 1058 -3
rect 1018 -39 1058 -35
<< metal2 >>
rect -978 95 978 104
rect -978 55 -963 95
rect 963 55 978 95
rect -978 46 978 55
rect -1058 1 -1018 25
rect -1058 -63 -1018 -39
rect 1018 1 1058 25
rect 1018 -63 1058 -39
<< labels >>
rlabel metal1 s -1038 -19 -1038 -19 4 D
rlabel metal1 s 1038 -19 1038 -19 4 S
rlabel metal1 s 0 75 0 75 4 G
<< end >>
